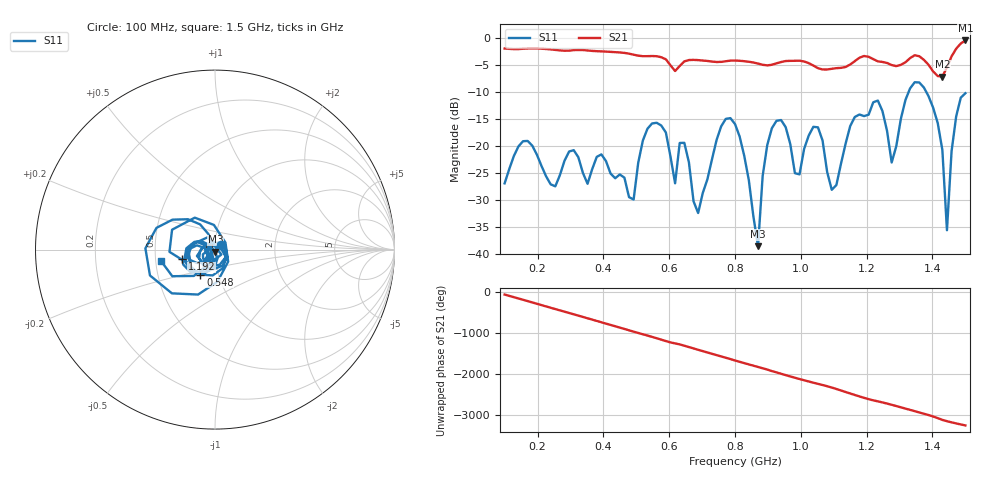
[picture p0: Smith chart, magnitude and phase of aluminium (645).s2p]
! NanoVNA-App
! Date: 2025-09-25 15:00:18
! Start: 100MHz Stop: 1,5GHz Points: 101
! S-Parameter data: F S11 S21 S12 S22
# Hz S RI R 50
!  Frequency  S11_Real  S11_Imag  S21_Real  S21_Imag  S12_Real  S12_Imag  S22_Real  S22_Imag
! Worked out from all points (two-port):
!   101 points, 100 MHz to 1.5 GHz, reference 50 ohm
!   highest |S21| = -0.42 dB at 1.5 GHz (marker M1); lowest = -7.1 dB at 1.43 GHz (marker M2)
!   |S21| within 3 dB of the highest: start of sweep to 567.6 MHz; 1.458 GHz to end of sweep (the widest 2 of 4)
!   lowest |S11| = -38.6 dB at 870 MHz (marker M3), VSWR 1.02, Z = 50.2 - j1.16 ohm
!   |S11| at or under -10 dB: start of sweep to 1.328 GHz; 1.381 GHz to end of sweep
!   S12 and S22 are empty: the file has one direction only
!   S11 on the Smith chart (normalised r, x): 100 MHz: 1.07, +0.06; 548 MHz: 0.82, -0.23; 1.192 GHz: 0.69, -0.08; 1.5 GHz: 0.53, -0.07
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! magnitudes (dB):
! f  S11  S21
! 100 MHz  -27.0  -1.9
! 156 MHz  -19.1  -2.0
! 338 MHz  -25.0  -2.2
! 492 MHz  -29.9  -3.1
! 548 MHz  -15.8  -3.3
! 576 MHz  -16.2  -3.5
! 646 MHz  -19.4  -4.3
! 688 MHz  -32.5  -4.1
! 800 MHz  -15.9  -4.1
! 870 MHz  -38.6  -4.7
! 912 MHz  -16.7  -4.9
! 996 MHz  -25.3  -4.2
! 1.038 GHz  -16.5  -5.1
! 1.094 GHz  -28.1  -5.7
! 1.192 GHz  -14.5  -3.3
! 1.234 GHz  -11.6  -4.3
! 1.276 GHz  -23.1  -5.0
! 1.346 GHz  -8.2  -3.2
! 1.43 GHz  -20.7  -7.1
! 1.444 GHz  -35.7  -5.4
! 1.472 GHz  -14.5  -2.0
! 1.5 GHz  -10.2  -0.4
